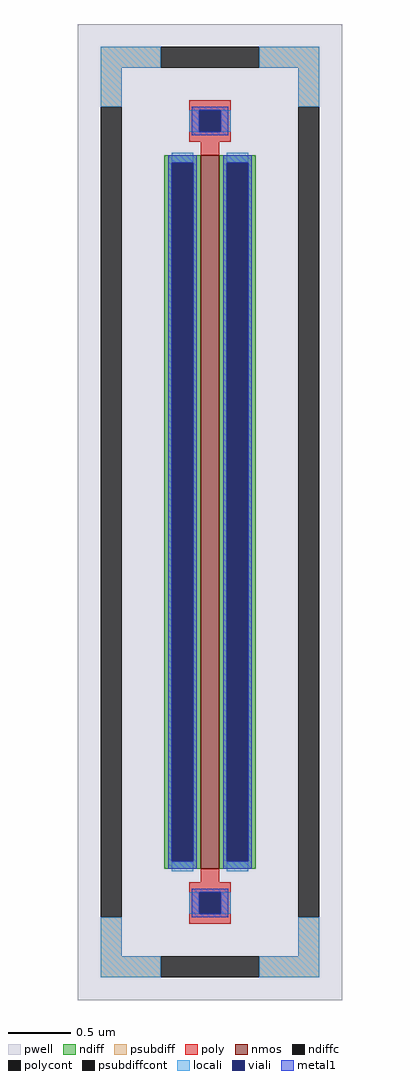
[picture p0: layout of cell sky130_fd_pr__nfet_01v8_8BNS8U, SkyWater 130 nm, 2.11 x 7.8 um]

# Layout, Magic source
magic
tech sky130A
magscale 1 2
<< pwell >>
rect -211 -780 211 780
<< nmos >>
rect -15 -570 15 570
<< ndiff >>
rect -73 558 -15 570
rect -73 -558 -61 558
rect -27 -558 -15 558
rect -73 -570 -15 -558
rect 15 558 73 570
rect 15 -558 27 558
rect 61 -558 73 558
rect 15 -570 73 -558
<< ndiffc >>
rect -61 -558 -27 558
rect 27 -558 61 558
<< psubdiff >>
rect -175 710 -79 744
rect 79 710 175 744
rect -175 648 -141 710
rect 141 648 175 710
rect -175 -710 -141 -648
rect 141 -710 175 -648
rect -175 -744 -79 -710
rect 79 -744 175 -710
<< psubdiffcont >>
rect -79 710 79 744
rect -175 -648 -141 648
rect 141 -648 175 648
rect -79 -744 79 -710
<< poly >>
rect -33 642 33 658
rect -33 608 -17 642
rect 17 608 33 642
rect -33 592 33 608
rect -15 570 15 592
rect -15 -592 15 -570
rect -33 -608 33 -592
rect -33 -642 -17 -608
rect 17 -642 33 -608
rect -33 -658 33 -642
<< polycont >>
rect -17 608 17 642
rect -17 -642 17 -608
<< locali >>
rect -175 710 -79 744
rect 79 710 175 744
rect -175 648 -141 710
rect 141 648 175 710
rect -33 608 -17 642
rect 17 608 33 642
rect -61 558 -27 574
rect -61 -574 -27 -558
rect 27 558 61 574
rect 27 -574 61 -558
rect -33 -642 -17 -608
rect 17 -642 33 -608
rect -175 -710 -141 -648
rect 141 -710 175 -648
rect -175 -744 -79 -710
rect 79 -744 175 -710
<< viali >>
rect -17 608 17 642
rect -61 -558 -27 558
rect 27 -558 61 558
rect -17 -642 17 -608
<< metal1 >>
rect -29 642 29 648
rect -29 608 -17 642
rect 17 608 29 642
rect -29 602 29 608
rect -67 558 -21 570
rect -67 -558 -61 558
rect -27 -558 -21 558
rect -67 -570 -21 -558
rect 21 558 67 570
rect 21 -558 27 558
rect 61 -558 67 558
rect 21 -570 67 -558
rect -29 -608 29 -602
rect -29 -642 -17 -608
rect 17 -642 29 -608
rect -29 -648 29 -642
<< properties >>
string FIXED_BBOX -158 -727 158 727
string gencell sky130_fd_pr__nfet_01v8
string library sky130
string parameters w 5.7 l 0.15 m 1 nf 1 diffcov 100 polycov 100 guard 1 glc 1 grc 1 gtc 1 gbc 1 tbcov 100 rlcov 100 topc 1 botc 1 poverlap 0 doverlap 1 lmin 0.15 wmin 0.42 compatible {sky130_fd_pr__nfet_01v8 sky130_fd_pr__nfet_01v8_lvt  sky130_fd_bs_flash__special_sonosfet_star  sky130_fd_pr__nfet_g5v0d10v5 sky130_fd_pr__nfet_05v0_nvt  sky130_fd_pr__nfet_03v3_nvt} full_metal 1 viasrc 100 viadrn 100 viagate 100 viagb 0 viagr 0 viagl 0 viagt 0
<< end >>
